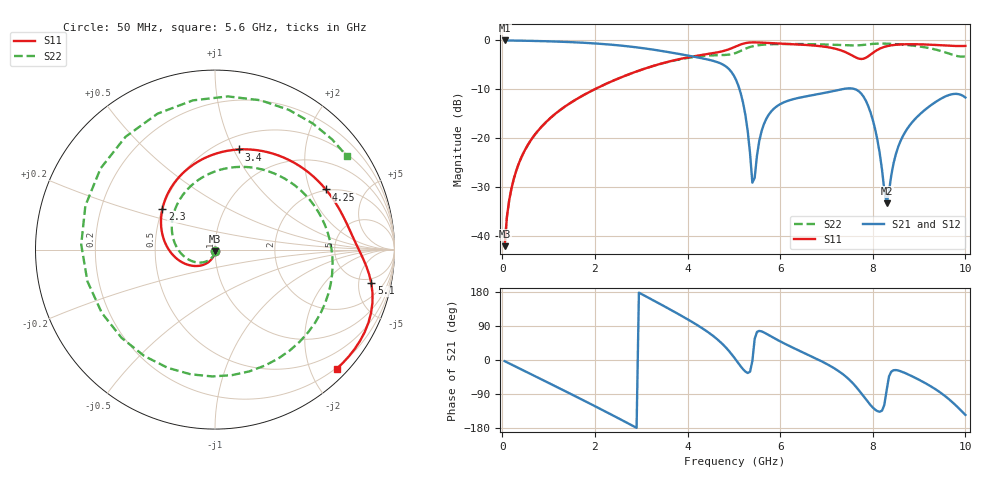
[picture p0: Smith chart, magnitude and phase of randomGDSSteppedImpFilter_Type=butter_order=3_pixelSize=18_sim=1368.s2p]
! freq	dB(S11)	phase(S11)	dB(S12)	phase(S12)
!  dB(S21)	phase(S21)	dB(S22)	phase(S22)
!S-par simulation data
#  GHz  S  DB  R 50
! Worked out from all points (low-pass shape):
!   200 points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, 50 MHz to 10 GHz, reference 50 ohm
!   highest |S21| = -0.01 dB at 50 MHz (marker M1); lowest = -33.4 dB at 8.3 GHz (marker M2)
!   |S21| within 3 dB of the highest: start of sweep to 3.954 GHz
!   lowest |S11| = -42.1 dB at 50 MHz (marker M3), VSWR 1.02, Z = 50 - j0.78 ohm
!   |S11| at or under -10 dB: start of sweep to 1.997 GHz
!   |S22| runs from -42.1 to -0.6 dB; largest |S21 - S12| = 0
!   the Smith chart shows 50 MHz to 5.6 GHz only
!   S11 on the Smith chart (normalised r, x): 50 MHz: 1.00, -0.02; 2.3 GHz: 0.50, +0.26; 3.4 GHz: 0.63, +1.05; 4.25 GHz: 1.96, +2.59; 5.1 GHz: 3.97, -7.23; 5.6 GHz: 0.18, -2.44
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0.05  -42.15 -91.8  -0.01 -3.0  -0.01 -3.0  -42.10 -92.2
0.2  -30.24 -100.1  -0.03 -12.1  -0.03 -12.1  -30.22 -103.0
0.5  -22.26 -117.0  -0.07 -30.2  -0.07 -30.2  -22.28 -124.1
1.75  -11.23 174.2  -0.48 -106.3  -0.48 -106.3  -11.23 151.3
2.3  -8.64 142.5  -0.83 -140.6  -0.83 -140.6  -8.64 114.2
3.4  -4.83 76.7  -2.09 148.3  -2.09 148.3  -4.85 38.3
4.25  -3.07 28.5  -3.54 89.1  -3.54 89.1  -3.26 -30.9
4.75  -2.23 4.7  -4.87 42.7  -4.87 42.7  -3.00 -101.0
5.05  -1.20 -9.2  -8.13 -0.5  -8.13 -0.5  -2.55 177.9
5.1  -1.00 -12.2  -9.33 -8.8  -9.33 -8.8  -2.35 161.3
5.4  -0.40 -32.2  -29.14 -2.6  -29.14 -2.6  -1.21 73.1
5.6  -0.45 -44.4  -18.55 75.5  -18.55 75.5  -0.90 35.1
6.7  -1.03 -103.8  -11.22 8.1  -11.22 8.1  -0.77 -55.6
7.4  -2.36 -171.4  -9.89 -41.9  -9.89 -41.9  -0.99 -87.5
7.75  -3.81 97.9  -10.88 -87.6  -10.88 -87.6  -0.97 -100.7
8  -2.56 13.9  -16.27 -125.4  -16.27 -125.4  -0.71 -111.7
8.3  -1.19 -45.5  -33.39 -79.3  -33.39 -79.3  -0.67 -127.3
8.35  -1.09 -52.1  -30.94 -43.4  -30.94 -43.4  -0.68 -129.9
8.65  -0.80 -81.2  -19.61 -31.9  -19.61 -31.9  -0.87 -147.0
9.3  -0.90 -118.7  -12.97 -72.9  -12.97 -72.9  -1.74 161.0
9.7  -1.11 -135.1  -11.04 -109.3  -11.04 -109.3  -2.88 99.8
10  -1.13 -145.9  -11.69 -144.9  -11.69 -144.9  -3.28 26.9
